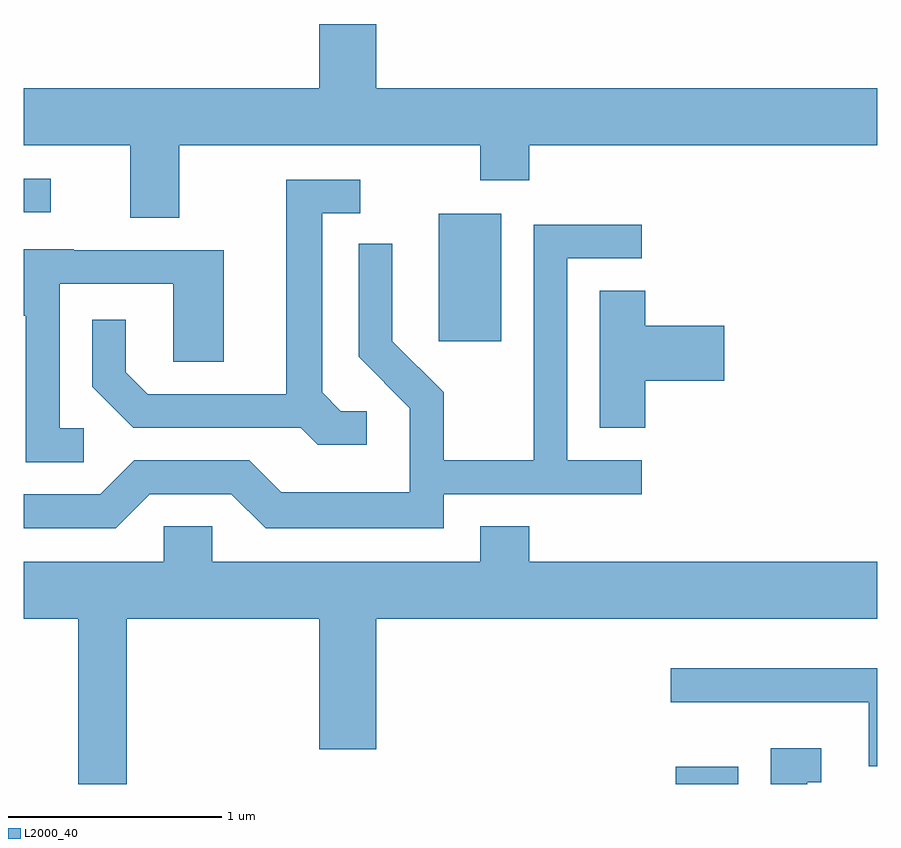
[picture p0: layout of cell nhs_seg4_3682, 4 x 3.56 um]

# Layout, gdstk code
import gdstk
lib = gdstk.Library(unit=1e-6, precision=1e-09)
def R(c, l, rs):  # rectangles x0, y0, x1, y1
    for r in rs: c.add(gdstk.rectangle(r[:2], r[2:], *l))
def P(c, l, *ps):  # polygons
    for p in ps: c.add(gdstk.Polygon(p, *l))
L2000_40 = (2000, 40)

nhs_seg4_3682 = lib.new_cell('nhs_seg4_3682')
R(nhs_seg4_3682, L2000_40, [(296.666,1273.982,296.959,1274.064), (295.556,1276.056,295.849,1276.654), (293.611,1276.661,293.738,1276.819)])
P(nhs_seg4_3682, L2000_40, [(294.339,1276.976),(295.751,1276.976),(295.751,1276.811),(295.979,1276.811),(295.979,1276.976),(297.611,1276.976),(297.611,1277.244),(295.264,1277.244),(295.264,1277.544),(294.996,1277.544),(294.996,1277.244),(293.611,1277.244),(293.611,1276.976),(294.111,1276.976),(294.111,1276.636),(294.339,1276.636)],
  [(295.218,1275.729),(295.097,1275.729),(295.009,1275.817),(295.009,1276.656),(295.188,1276.656),(295.188,1276.814),(294.841,1276.814),(294.841,1275.809),(294.192,1275.809),(294.089,1275.912),(294.089,1276.158),(293.931,1276.158),(293.931,1275.844),(294.124,1275.651),(294.909,1275.651),(294.989,1275.571),(295.218,1275.571)],
  [(294.202,1275.341),(294.584,1275.341),(294.744,1275.181),(295.579,1275.181),(295.579,1275.341),(296.508,1275.341),(296.508,1275.499),(296.159,1275.499),(296.159,1276.446),(296.508,1276.446),(296.508,1276.604),(296.001,1276.604),(296.001,1275.499),(295.579,1275.499),(295.579,1275.817),(295.339,1276.057),(295.339,1276.513),(295.181,1276.513),(295.181,1275.984),(295.421,1275.744),(295.421,1275.349),(294.817,1275.349),(294.667,1275.499),(294.129,1275.499),(293.969,1275.339),(293.611,1275.339),(293.611,1275.181),(294.042,1275.181)],
  [(293.893,1275.649),(293.779,1275.649),(293.779,1276.326),(294.311,1276.326),(294.311,1275.961),(294.549,1275.961),(294.549,1276.484),(293.845,1276.484),(293.845,1276.489),(293.611,1276.489),(293.611,1276.176),(293.621,1276.176),(293.621,1275.491),(293.893,1275.491)],
  [(296.524,1275.871),(296.894,1275.871),(296.894,1276.129),(296.524,1276.129),(296.524,1276.294),(296.311,1276.294),(296.311,1275.651),(296.524,1275.651)],
  [(294.094,1274.756),(294.996,1274.756),(294.996,1274.146),(295.264,1274.146),(295.264,1274.756),(297.611,1274.756),(297.611,1275.024),(295.979,1275.024),(295.979,1275.189),(295.751,1275.189),(295.751,1275.024),(294.494,1275.024),(294.494,1275.189),(294.266,1275.189),(294.266,1275.024),(293.611,1275.024),(293.611,1274.756),(293.866,1274.756),(293.866,1273.982),(294.094,1273.982)],
  [(297.611,1274.524),(296.643,1274.524),(296.643,1274.366),(297.571,1274.366),(297.571,1274.066),(297.611,1274.066)],
  [(297.284,1273.991),(297.348,1273.991),(297.348,1274.149),(297.111,1274.149),(297.111,1273.982),(297.284,1273.982)])

lib.write_gds('nhs_seg4_3682.gds')
